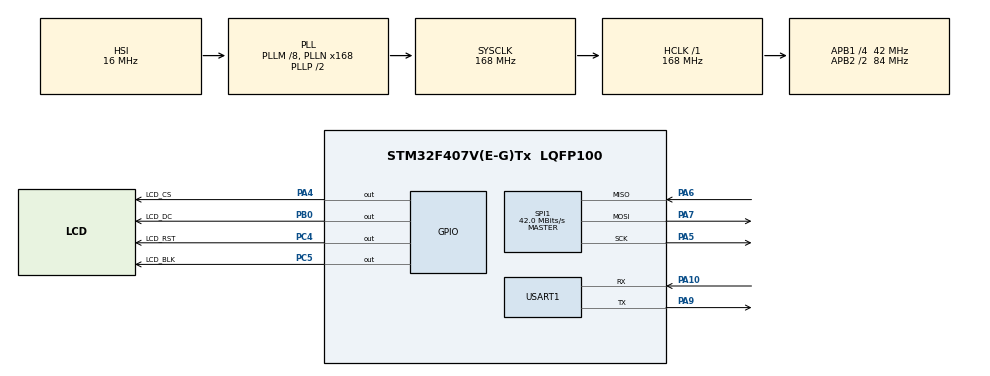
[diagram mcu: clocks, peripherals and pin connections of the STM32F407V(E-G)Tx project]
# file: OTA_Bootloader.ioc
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Mcu.Family=STM32F4
Mcu.Name=STM32F407V(E-G)Tx
Mcu.Package=LQFP100
NVIC.PriorityGroup=NVIC_PRIORITYGROUP_4
PA10.Mode=Asynchronous
PA10.Signal=USART1_RX
PA13.Mode=Serial_Wire
PA13.Signal=SYS_JTMS-SWDIO
PA14.Mode=Serial_Wire
PA14.Signal=SYS_JTCK-SWCLK
PA4.GPIO_Label=LCD_CS
PA4.GPIO_Speed=GPIO_SPEED_FREQ_VERY_HIGH
PA4.PinState=GPIO_PIN_SET
PA4.Signal=GPIO_Output
PA5.Mode=Full_Duplex_Master
PA5.Signal=SPI1_SCK
PA6.Mode=Full_Duplex_Master
PA6.Signal=SPI1_MISO
PA7.Mode=Full_Duplex_Master
PA7.Signal=SPI1_MOSI
PA9.Mode=Asynchronous
PA9.Signal=USART1_TX
PB0.GPIO_Label=LCD_DC
PB0.GPIO_Speed=GPIO_SPEED_FREQ_VERY_HIGH
PB0.PinState=GPIO_PIN_SET
PB0.Signal=GPIO_Output
PC4.GPIO_Label=LCD_RST
PC4.GPIO_Speed=GPIO_SPEED_FREQ_VERY_HIGH
PC4.PinState=GPIO_PIN_SET
PC4.Signal=GPIO_Output
PC5.GPIO_Label=LCD_BLK
PC5.GPIO_Speed=GPIO_SPEED_FREQ_VERY_HIGH
PC5.Signal=GPIO_Output
ProjectManager.HeapSize=0x200
ProjectManager.StackSize=0x400
ProjectManager.TargetToolchain=MDK-ARM V5.32
RCC.48MHZClocksFreq_Value=84000000
RCC.AHBFreq_Value=168000000
RCC.APB1CLKDivider=RCC_HCLK_DIV4
RCC.APB1Freq_Value=42000000
RCC.APB1TimFreq_Value=84000000
RCC.APB2CLKDivider=RCC_HCLK_DIV2
RCC.APB2Freq_Value=84000000
RCC.APB2TimFreq_Value=168000000
RCC.CortexFreq_Value=168000000
RCC.HCLKFreq_Value=168000000
RCC.HSE_VALUE=25000000
RCC.HSI_VALUE=16000000
RCC.LSE_VALUE=32768
RCC.PLLM=8
RCC.PLLN=168
RCC.PLLSourceVirtual=RCC_PLLSOURCE_HSI
RCC.SYSCLKFreq_VALUE=168000000
RCC.SYSCLKSource=RCC_SYSCLKSOURCE_PLLCLK
RCC.VCOOutputFreq_Value=336000000
SPI1.CalculateBaudRate=42.0 MBits/s
SPI1.Direction=SPI_DIRECTION_2LINES
SPI1.Mode=SPI_MODE_MASTER
SPI1.VirtualType=VM_MASTER
USART1.VirtualMode=VM_ASYNC
board=custom

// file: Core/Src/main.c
/* USER CODE BEGIN Header */
/**
  ******************************************************************************
  * @file           : main.c
  * @brief          : Main program body
  ******************************************************************************
  * @attention
  *
  * Copyright (c) 2026 STMicroelectronics.
  * All rights reserved.
  *
  * This software is licensed under terms that can be found in the LICENSE file
  * in the root directory of this software component.
  * If no LICENSE file comes with this software, it is provided AS-IS.
  *
  ******************************************************************************
  */
/* USER CODE END Header */
#include "main.h"
#include "spi.h"
#include "usart.h"
#include "gpio.h"

/* USER CODE BEGIN Includes */
#include "bootloader.h"
#include "iap_protocol.h"
#include "iap_uart.h"
#include "iap_frame.h"
#include "esp8266_at.h"
#include "boot_flag.h"
#include "boot_display.h"
/* USER CODE END Includes */

void SystemClock_Config(void);

int main(void)
{

  /* MCU Configuration--------------------------------------------------------*/

  /* Reset of all peripherals, Initializes the Flash interface and the Systick. */
  HAL_Init();

  /* Configure the system clock */
  SystemClock_Config();

  /* Initialize all configured peripherals */
  MX_GPIO_Init();
  MX_USART1_UART_Init();
  MX_SPI1_Init();
  /* USER CODE BEGIN 2 */

    bool tcp_upgrade_ready; /* 记录 ESP8266 是否已联网并启动 TCP 升级服务。 */
    bool update_requested; /* 记录 APP 是否通过备份寄存器明确请求进入升级模式。 */
    char station_ip[16]; /* 保存 ESP8266 获得的 IPv4；当前用于联网成功校验和后续扩展。 */

    /*
     * USART1 已物理连接 ESP8266，因此在联网初始化前不能发送 BOOT_WAIT、
     * UPDATE_REQUESTED 等普通文本；否则模块会把文本当作未知 AT 指令。
     */
    update_requested = BootFlag_IsUpdateRequested(); /* 先读取一次升级请求标志。 */
    if (update_requested)
    {
      BootFlag_Clear(); /* 读取后立即清除，防止后续意外复位永久停留 Bootloader。 */
    }
    else if (Bootloader_IsAppValid() && !IapUart_WaitForEnter(3000U))
    {
      Bootloader_JumpToApp();
    }

    (void)BootDisplay_Init();
    BootDisplay_ShowConnecting();

    /*
     * 进入升级模式后，Bootloader 自己恢复 ESP8266 的网络连接并启动
     * 5000 端口 TCP Server。APP 的 WiFi 状态机在软件复位后已不存在，
     * 所以不能由 APP 代替此处的联网过程。
     */
    tcp_upgrade_ready = Esp8266At_PrepareWifiTcpServer(5000U,
                                                        station_ip,
                                                        (uint16_t)sizeof(station_ip),
                                                        500U); /* 完成 AT 检测、连接 WiFi、获取 IP 和启动 Server。 */

    if (tcp_upgrade_ready)
    {
      BootDisplay_ShowWaiting();
      /*
       * USART1 此时连接 ESP8266，不能继续把普通 IAP 文本发往 UART，
       * 否则 ESP 会把它误认为 AT 命令。专用循环只处理 +IPD 中的真实
       * TCP 负载，ACK/NACK 也经原 TCP 连接返回电脑端发送工具。
       */
      IapProtocol_RunEsp8266();
    }

    BootDisplay_ShowFailed();

    /*
     * ESP8266 初始化失败时保留原有串口升级入口，便于将 ESP 模块暂时
     * 断开后通过 USB 转串口工具恢复应用。此分支才允许输出文本提示。
     */
    if (update_requested)
    {
      IapUart_SendText("\r\nUPDATE_REQUESTED\r\n"); /* 仅在 ESP 初始化失败的串口恢复场景下输出升级请求状态。 */
    }
    IapUart_SendText("\r\nIAP_READY\r\n");
    IapProtocol_Run();

  /* USER CODE END 2 */

  /* Infinite loop */
  while (1)
  {

    /* USER CODE BEGIN 3 */
    /* 没有检测到合法主应用时停留在 Bootloader，等待后续升级功能。 */
  }
  /* USER CODE END 3 */
}

void SystemClock_Config(void)
{
  RCC_OscInitTypeDef RCC_OscInitStruct = {0};
  RCC_ClkInitTypeDef RCC_ClkInitStruct = {0};

  /** Configure the main internal regulator output voltage
  */
  __HAL_RCC_PWR_CLK_ENABLE();
  __HAL_PWR_VOLTAGESCALING_CONFIG(PWR_REGULATOR_VOLTAGE_SCALE1);

  /** Initializes the RCC Oscillators according to the specified parameters
  * in the RCC_OscInitTypeDef structure.
  */
  RCC_OscInitStruct.OscillatorType = RCC_OSCILLATORTYPE_HSI;
  RCC_OscInitStruct.HSIState = RCC_HSI_ON;
  RCC_OscInitStruct.HSICalibrationValue = RCC_HSICALIBRATION_DEFAULT;
  RCC_OscInitStruct.PLL.PLLState = RCC_PLL_ON;
  RCC_OscInitStruct.PLL.PLLSource = RCC_PLLSOURCE_HSI;
  RCC_OscInitStruct.PLL.PLLM = 8;
  RCC_OscInitStruct.PLL.PLLN = 168;
  RCC_OscInitStruct.PLL.PLLP = RCC_PLLP_DIV2;
  RCC_OscInitStruct.PLL.PLLQ = 4;
  if (HAL_RCC_OscConfig(&RCC_OscInitStruct) != HAL_OK)
  {
    Error_Handler();
  }

  /** Initializes the CPU, AHB and APB buses clocks
  */
  RCC_ClkInitStruct.ClockType = RCC_CLOCKTYPE_HCLK|RCC_CLOCKTYPE_SYSCLK
                              |RCC_CLOCKTYPE_PCLK1|RCC_CLOCKTYPE_PCLK2;
  RCC_ClkInitStruct.SYSCLKSource = RCC_SYSCLKSOURCE_PLLCLK;
  RCC_ClkInitStruct.AHBCLKDivider = RCC_SYSCLK_DIV1;
  RCC_ClkInitStruct.APB1CLKDivider = RCC_HCLK_DIV4;
  RCC_ClkInitStruct.APB2CLKDivider = RCC_HCLK_DIV2;

  if (HAL_RCC_ClockConfig(&RCC_ClkInitStruct, FLASH_LATENCY_5) != HAL_OK)
  {
    Error_Handler();
  }
}

void Error_Handler(void)
{
  __disable_irq();
  while (1)
  {
  }
}
